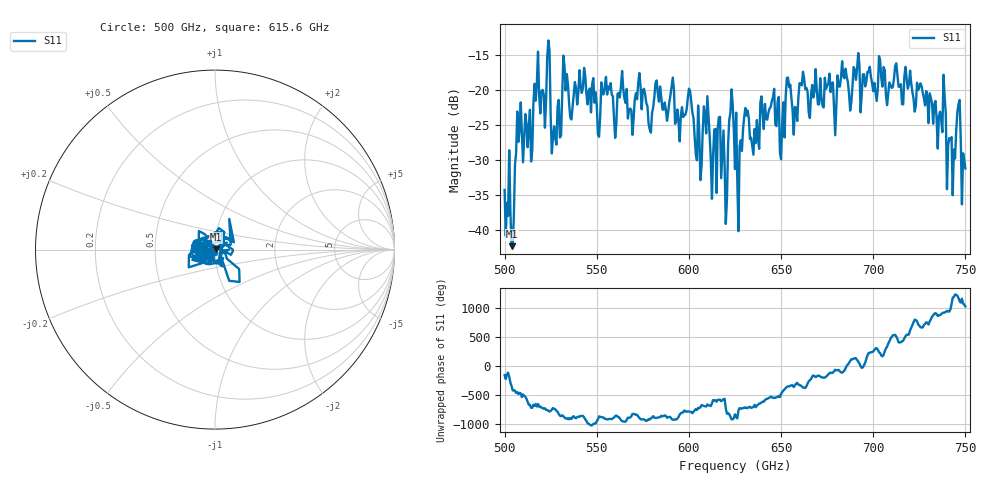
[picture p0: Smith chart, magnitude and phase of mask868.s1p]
!Created with skrf (http://scikit-rf.org).
# GHz S MA R 50.0
!freq magS11 angS11
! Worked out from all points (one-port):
!   401 points, 500 GHz to 750 GHz, reference 50 ohm
!   lowest |S11| = -42.3 dB at 503.8 GHz (marker M1), VSWR 1.02, Z = 50.7 + j0.203 ohm
!   |S11| at or under -10 dB: start of sweep to end of sweep
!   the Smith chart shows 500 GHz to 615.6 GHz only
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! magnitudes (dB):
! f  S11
! 500 GHz  -34.3
! 503.8 GHz  -42.3
! 507.5 GHz  -27.4
! 513.8 GHz  -22.8
! 516.9 GHz  -21.5
! 523.8 GHz  -12.9
! 526.9 GHz  -25.2
! 531.2 GHz  -20.6
! 562.5 GHz  -21.1
! 579.4 GHz  -26.1
! 590.6 GHz  -19.4
! 593.8 GHz  -22.8
! 600.6 GHz  -20.1
! 605.6 GHz  -26.3
! 609.4 GHz  -26.2
! 619.4 GHz  -30.8
! 622.5 GHz  -23.3
! 625 GHz  -31.3
! 627.5 GHz  -28.1
! 631.2 GHz  -23.7
! 635 GHz  -29.2
! 656.2 GHz  -23.0
! 687.5 GHz  -22.9
! 718.8 GHz  -19.8
! 738.1 GHz  -17.8
! 743.1 GHz  -35.0
! 746.2 GHz  -22.0
! 750 GHz  -31.2
